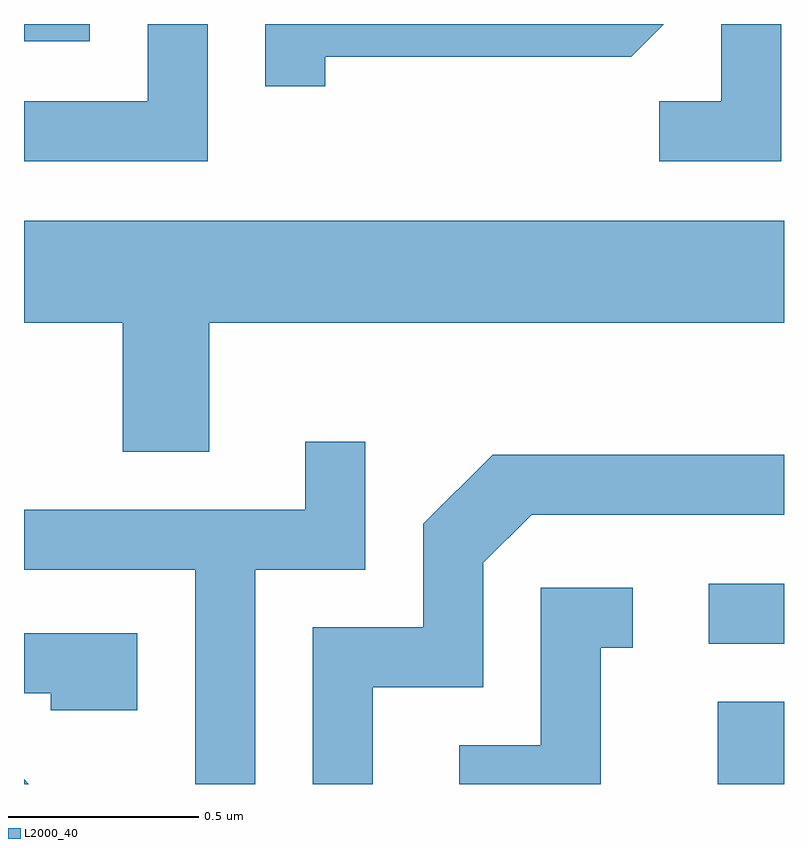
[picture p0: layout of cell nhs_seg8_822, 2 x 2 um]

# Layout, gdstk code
import gdstk
lib = gdstk.Library(unit=1e-6, precision=1e-09)
def R(c, l, rs):  # rectangles x0, y0, x1, y1
    for r in rs: c.add(gdstk.rectangle(r[:2], r[2:], *l))
def P(c, l, *ps):  # polygons
    for p in ps: c.add(gdstk.Polygon(p, *l))
L2000_40 = (2000, 40)

nhs_seg8_822 = lib.new_cell('nhs_seg8_822')
R(nhs_seg8_822, L2000_40, [(193.436,1806.342,193.611,1806.559), (193.413,1806.711,193.611,1806.869), (191.611,1808.296,191.784,1808.342)])
P(nhs_seg8_822, L2000_40, [(192.094,1808.342),(191.936,1808.342),(191.936,1808.139),(191.611,1808.139),(191.611,1807.981),(192.094,1807.981)],
  [(192.404,1808.256),(193.209,1808.256),(193.294,1808.342),(192.246,1808.342),(192.246,1808.178),(192.404,1808.178)],
  [(193.604,1808.342),(193.446,1808.342),(193.446,1808.139),(193.283,1808.139),(193.283,1807.981),(193.604,1807.981)],
  [(192.099,1807.556),(193.611,1807.556),(193.611,1807.824),(191.611,1807.824),(191.611,1807.556),(191.871,1807.556),(191.871,1807.216),(192.099,1807.216)],
  [(192.219,1806.906),(192.509,1806.906),(192.509,1807.243),(192.351,1807.243),(192.351,1807.064),(191.611,1807.064),(191.611,1806.906),(192.061,1806.906),(192.061,1806.342),(192.219,1806.342)],
  [(192.529,1806.596),(192.819,1806.596),(192.819,1806.924),(192.947,1807.051),(193.611,1807.051),(193.611,1807.209),(192.844,1807.209),(192.661,1807.027),(192.661,1806.754),(192.371,1806.754),(192.371,1806.342),(192.529,1806.342)],
  [(193.129,1806.701),(193.213,1806.701),(193.213,1806.859),(192.971,1806.859),(192.971,1806.444),(192.756,1806.444),(192.756,1806.342),(193.129,1806.342)],
  [(191.909,1806.739),(191.611,1806.739),(191.611,1806.581),(191.681,1806.581),(191.681,1806.536),(191.909,1806.536)],
  [(191.611,1806.355),(191.611,1806.342),(191.624,1806.342)])

lib.write_gds('nhs_seg8_822.gds')
